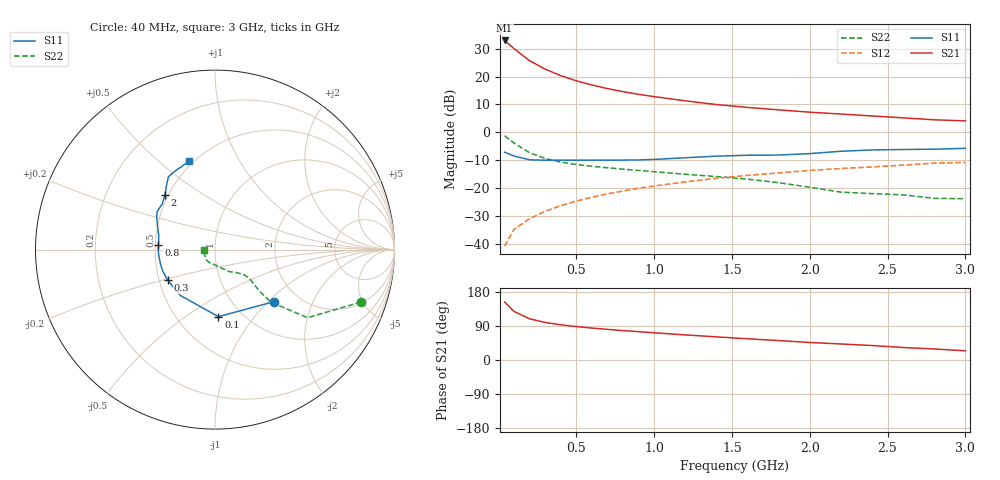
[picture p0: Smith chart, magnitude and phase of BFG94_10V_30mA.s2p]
! Filename:  BFG94B.S2P  Version:  2.0
! Philips part #: BFG 94  Date: May 1990
! Bias condition: Vce=10V, Ic=30mA
#  MHz  S  MA  R  50
! Freq  S11  S21  S12  S22  !GUM [dB]
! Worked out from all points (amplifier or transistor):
!   21 points, 40 MHz to 3 GHz, reference 50 ohm
!   highest |S21| = 32.9 dB at 40 MHz (marker M1)
!   |S21| within 3 dB of that: start of sweep to 102 MHz
!   unconditionally stable (mu >= 1): 437.5 MHz to end of sweep
!   at 300 MHz: K = 0.93, MSG = 25.5 dB, |S12| = -28.4 dB
!   at 1 GHz: K = 1.09, MAG = 14.2 dB, |S12| = -19.3 dB
!   at 3 GHz: K = 1.05, MAG = 6.0 dB, |S12| = -10.8 dB
!   lowest NFmin = 2.30 dB at 500 MHz
!   S11 on the Smith chart (normalised r, x): 40 MHz: 1.51, -1.08; 100 MHz: 0.78, -0.68; 300 MHz: 0.55, -0.21; 800 MHz: 0.52, +0.03; 2 GHz: 0.48, +0.35; 3 GHz: 0.47, +0.64
40  0.438 -41.5  44.41 153.0  0.009 74.6  0.865 -19.7
100  0.374 -87.1  31.75 128.2  0.018 66.3  0.641 -36.3
200  0.32 -126.9  19.27 108.7  0.028 66.9  0.429 -43.2
300  0.314 -147.0  13.58 99.2  0.038 68.6  0.338 -43.0
400  0.315 -158.3  10.38 92.9  0.048 69.9  0.291 -41.7
500  0.314 -166.3  8.38 88.3  0.058 70.6  0.263 -40.5
600  0.315 -174.1  7.05 84.3  0.068 71.6  0.245 -40.1
700  0.316 -178.9  6.08 80.8  0.078 71.3  0.23 -40.4
800  0.316 175.3  5.35 77.7  0.088 70.7  0.217 -40.8
900  0.318 170.3  4.79 74.8  0.099 70.1  0.206 -41.6
1000  0.325 165.1  4.36 71.9  0.108 69.3  0.196 -43.1
1200  0.348 157.1  3.66 66.2  0.128 68.4  0.176 -46.7
1400  0.372 150.9  3.14 61.1  0.149 66.6  0.16 -51.8
1600  0.386 146.8  2.79 56.0  0.168 64.5  0.144 -57.8
1800  0.389 139.1  2.52 51.4  0.186 62.8  0.124 -63.8
2000  0.413 132.5  2.29 46.2  0.206 60.7  0.103 -73.7
2200  0.455 126.1  2.12 42.3  0.223 57.6  0.084 -92.2
2400  0.481 122.7  1.96 38.2  0.238 55.7  0.079 -113.2
2600  0.489 118.3  1.81 33.0  0.256 54.4  0.075 -130.0
2800  0.496 113.4  1.67 29.1  0.279 51.8  0.065 -149.4
3000  0.514 106.1  1.6 24.3  0.287 46.7  0.064 -179.0
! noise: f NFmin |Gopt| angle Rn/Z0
500  2.3  0.134  155.2  0.222
1000  2.7  0.253  175.6  0.216
